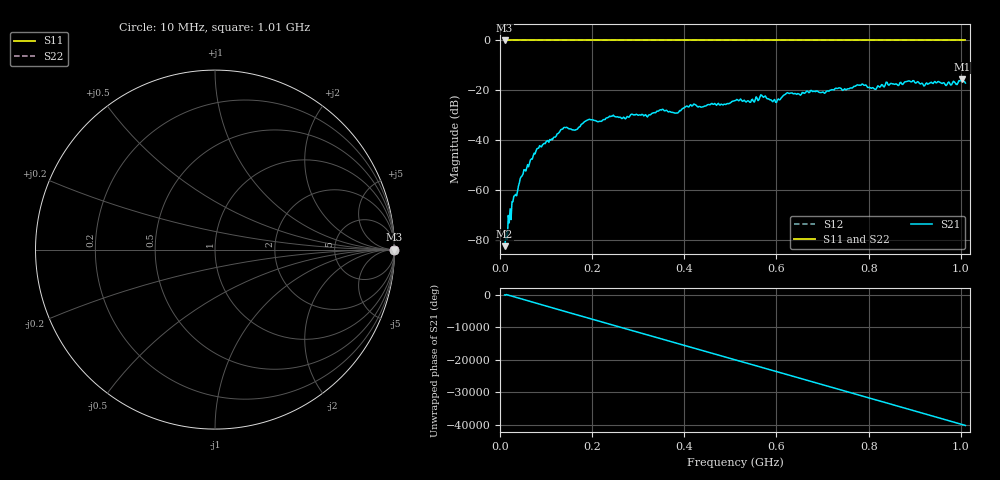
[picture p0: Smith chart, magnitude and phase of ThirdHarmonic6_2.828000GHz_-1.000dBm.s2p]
! 8/17/2025 7:31:36 AM
! C:\ANRITSUVNA\TEMP\TEMP.S2P
! CHANNEL.1
! TR.MEASUREMENT
! RAW.DATA
! RF.CORRECTION.OFF
! AVERAGING.OFF
! IF.BANDWIDTH: 5KHZ
! SWEEPTYPE:  FREQ.SWEEP(Linear)
! Reference Plane Port Info
! PORT:  PORT1  PORT2
! DISTANCE:  0  m  0  m
! TIME:  0  s  0  s
! PHASE.OFFSET:  0  deg.  0  deg.
! LOSS:  0  dB  0  dB
! REF.LOSS:  0  dB  0  dB
! REF.FREQ:  0  Hz  0  Hz
! Power Info
! POWER:  -20  dBm  -20  dBm
! EFF.POWER:  -20  dBm  -20  dBm
! SOURCE.ATTEN:  0  dB  0  dB
! TEST.ATTEN:  0  dB  0  dB
# GHZ S RI R 50.0
! FREQ.GHZ  S11RE  S11IM  S21RE  S21IM  S12RE  S12IM  S22RE  S22IM
!; PortSelection: Port_12
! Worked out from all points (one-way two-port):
!   501 points, 10 MHz to 1.01 GHz, reference 50 ohm
!   highest |S21| = -15.61 dB at 1.002 GHz (marker M1); lowest = -82.5 dB at 10 MHz (marker M2)
!   lowest |S11| = 0.0 dB at 10 MHz (marker M3)
!   |S11| at or under -10 dB: nowhere
!   |S22| runs from 0.0 to 0.0 dB; largest |S21 - S12| = 1.2
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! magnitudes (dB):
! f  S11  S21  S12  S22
! 10 MHz  0.0  -82.5  0.0  0.0
! 12 MHz  0.0  -79.8  0.0  0.0
! 30 MHz  0.0  -62.5  0.0  0.0
! 48 MHz  0.0  -54.2  0.0  0.0
! 78 MHz  0.0  -44.4  0.0  0.0
! 136 MHz  0.0  -35.5  0.0  0.0
! 164 MHz  0.0  -35.9  0.0  0.0
! 178 MHz  0.0  -33.5  0.0  0.0
! 344 MHz  0.0  -28.3  0.0  0.0
! 382 MHz  0.0  -29.1  0.0  0.0
! 418 MHz  0.0  -26.2  0.0  0.0
! 510 MHz  0.0  -24.1  0.0  0.0
! 548 MHz  0.0  -23.6  0.0  0.0
! 570 MHz  0.0  -22.5  0.0  0.0
! 596 MHz  0.0  -23.7  0.0  0.0
! 622 MHz  0.0  -21.1  0.0  0.0
! 678 MHz  0.0  -20.5  0.0  0.0
! 784 MHz  0.0  -17.8  0.0  0.0
! 814 MHz  0.0  -19.6  0.0  0.0
! 844 MHz  0.0  -17.9  0.0  0.0
! 1.002 GHz  0.0  -15.6  0.0  0.0
! 1.01 GHz  0.0  -17.1  0.0  0.0
